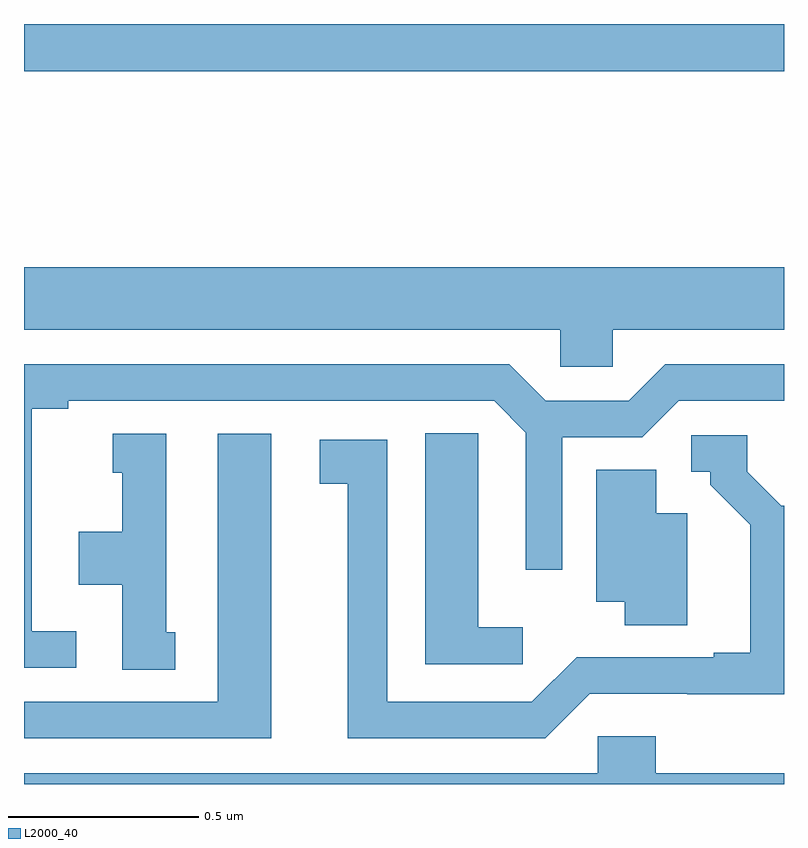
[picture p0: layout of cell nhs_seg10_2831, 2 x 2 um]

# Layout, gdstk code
import gdstk
lib = gdstk.Library(unit=1e-6, precision=1e-09)
def R(c, l, rs):  # rectangles x0, y0, x1, y1
    for r in rs: c.add(gdstk.rectangle(r[:2], r[2:], *l))
def P(c, l, *ps):  # polygons
    for p in ps: c.add(gdstk.Polygon(p, *l))
L2000_40 = (2000, 40)

nhs_seg10_2831 = lib.new_cell('nhs_seg10_2831')
R(nhs_seg10_2831, L2000_40, [(146,1254.376,148,1254.5)])
P(nhs_seg10_2831, L2000_40, [(147.549,1253.696),(148,1253.696),(148,1253.86),(146,1253.86),(146,1253.696),(147.411,1253.696),(147.411,1253.598),(147.549,1253.598)],
  [(146.137,1252.902),(146.02,1252.902),(146.02,1253.488),(146.116,1253.488),(146.116,1253.508),(147.237,1253.508),(147.321,1253.424),(147.321,1253.064),(147.417,1253.064),(147.417,1253.412),(147.627,1253.412),(147.723,1253.508),(148,1253.508),(148,1253.604),(147.687,1253.604),(147.591,1253.508),(147.373,1253.508),(147.277,1253.604),(146,1253.604),(146,1252.806),(146.137,1252.806)],
  [(147.313,1252.912),(147.196,1252.912),(147.196,1253.315),(147.195,1253.315),(147.195,1253.423),(147.056,1253.423),(147.056,1252.815),(147.313,1252.815)],
  [(146.65,1253.422),(146.51,1253.422),(146.51,1252.716),(146,1252.716),(146,1252.62),(146.65,1252.62)],
  [(146.398,1252.899),(146.374,1252.899),(146.374,1253.422),(146.234,1253.422),(146.234,1253.319),(146.258,1253.319),(146.258,1253.164),(146.144,1253.164),(146.144,1253.024),(146.258,1253.024),(146.258,1252.801),(146.398,1252.801)],
  [(147.489,1252.737),(147.745,1252.737),(147.745,1252.736),(148,1252.736),(148,1253.232),(147.993,1253.232),(147.903,1253.322),(147.903,1253.418),(147.756,1253.418),(147.756,1253.322),(147.806,1253.322),(147.806,1253.287),(147.911,1253.182),(147.911,1252.846),(147.815,1252.846),(147.815,1252.833),(147.55,1252.833),(147.55,1252.834),(147.454,1252.834),(147.336,1252.716),(146.956,1252.716),(146.956,1253.406),(146.778,1253.406),(146.778,1253.29),(146.852,1253.29),(146.852,1252.62),(147.372,1252.62)],
  [(147.745,1253.212),(147.664,1253.212),(147.664,1253.327),(147.506,1253.327),(147.506,1252.979),(147.581,1252.979),(147.581,1252.918),(147.745,1252.918)],
  [(148,1252.528),(147.662,1252.528),(147.662,1252.626),(147.51,1252.626),(147.51,1252.528),(146,1252.528),(146,1252.5),(148,1252.5)])

lib.write_gds('nhs_seg10_2831.gds')
